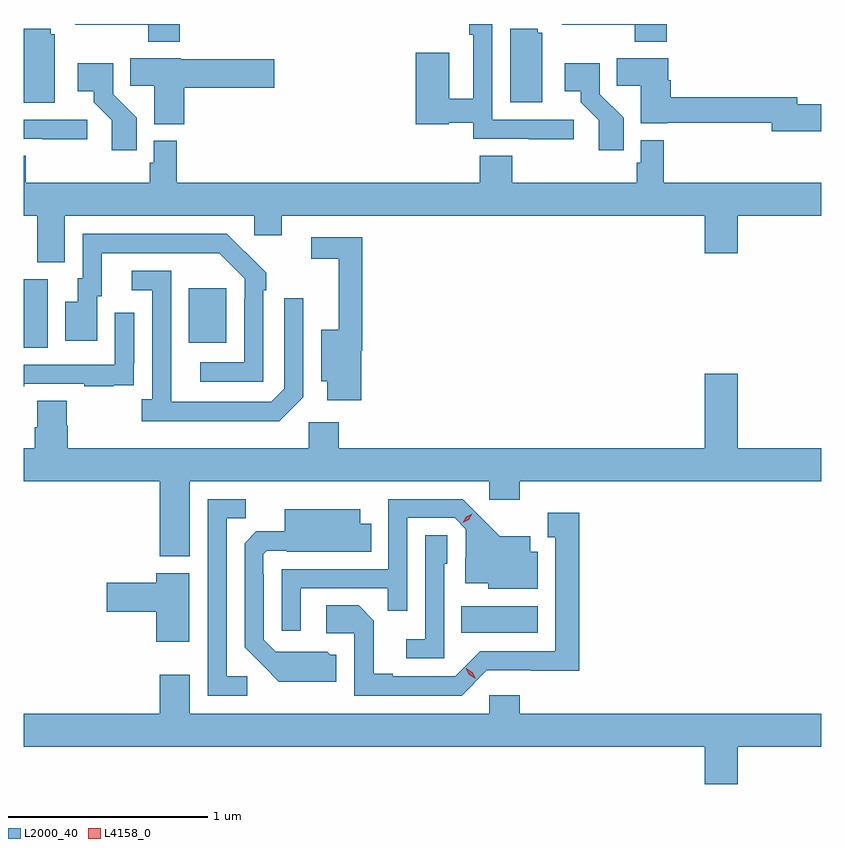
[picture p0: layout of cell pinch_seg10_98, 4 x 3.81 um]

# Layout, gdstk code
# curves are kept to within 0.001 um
import gdstk
lib = gdstk.Library(unit=1e-6, precision=1e-09)
def R(c, l, rs):  # rectangles x0, y0, x1, y1
    for r in rs: c.add(gdstk.rectangle(r[:2], r[2:], *l))
def P(c, l, *ps):  # polygons
    for p in ps: c.add(gdstk.Polygon(p, *l))
L2000_40 = (2000, 40)
L4158_0 = (4158, 0)

pinch_seg10_98 = lib.new_cell('pinch_seg10_98')
R(pinch_seg10_98, L2000_40, [(715.234,1291.562,715.618,1291.696), (713.039,1292.992,713.158,1293.336), (713.867,1293.017,714.055,1293.292)])
P(pinch_seg10_98, L2000_40, [(715.798,1294.137),(715.389,1294.137),(715.389,1294.617),(715.273,1294.617),(715.273,1294.562),(715.293,1294.562),(715.293,1294.243),(715.174,1294.243),(715.174,1294.474),(715.004,1294.474),(715.004,1294.114),(715.17,1294.114),(715.17,1294.122),(715.293,1294.122),(715.293,1294.041),(715.573,1294.041),(715.573,1294.039),(715.798,1294.039)],
  [(713.822,1294.617),(713.295,1294.617),(713.299,1294.613),(713.398,1294.613),(713.398,1294.614),(713.662,1294.614),(713.662,1294.529),(713.822,1294.529)],
  [(716.264,1294.617),(715.737,1294.617),(715.741,1294.613),(715.84,1294.613),(715.84,1294.614),(716.104,1294.614),(716.104,1294.529),(716.264,1294.529)],
  [(713.194,1294.566),(713.175,1294.566),(713.175,1294.593),(713.039,1294.593),(713.039,1294.222),(713.194,1294.222)],
  [(715.639,1294.572),(715.617,1294.572),(715.617,1294.593),(715.478,1294.593),(715.478,1294.224),(715.639,1294.224)],
  [(713.843,1294.297),(714.295,1294.297),(714.295,1294.439),(713.826,1294.439),(713.826,1294.444),(713.572,1294.444),(713.572,1294.306),(713.693,1294.306),(713.693,1294.115),(713.843,1294.115)],
  [(717.039,1294.214),(716.92,1294.214),(716.92,1294.25),(716.285,1294.25),(716.285,1294.334),(716.272,1294.334),(716.272,1294.444),(716.014,1294.444),(716.014,1294.306),(716.135,1294.306),(716.135,1294.118),(716.268,1294.118),(716.268,1294.122),(716.792,1294.122),(716.792,1294.079),(717.039,1294.079)],
  [(716.048,1294.146),(715.929,1294.265),(715.929,1294.42),(715.752,1294.42),(715.752,1294.28),(715.832,1294.28),(715.832,1294.225),(715.923,1294.135),(715.923,1293.984),(716.048,1293.984)],
  [(713.606,1294.146),(713.487,1294.265),(713.487,1294.42),(713.31,1294.42),(713.31,1294.28),(713.39,1294.28),(713.39,1294.225),(713.481,1294.135),(713.481,1293.984),(713.606,1293.984)],
  [(713.356,1294.137),(713.039,1294.137),(713.039,1294.041),(713.131,1294.041),(713.131,1294.039),(713.356,1294.039)],
  [(713.245,1293.656),(714.195,1293.656),(714.195,1293.558),(714.334,1293.558),(714.334,1293.656),(716.456,1293.656),(716.456,1293.468),(716.62,1293.468),(716.62,1293.656),(717.039,1293.656),(717.039,1293.82),(716.249,1293.82),(716.249,1294.033),(716.133,1294.033),(716.133,1293.921),(716.113,1293.921),(716.113,1293.82),(715.49,1293.82),(715.49,1293.956),(715.325,1293.956),(715.325,1293.82),(713.807,1293.82),(713.807,1294.03),(713.691,1294.03),(713.691,1293.921),(713.671,1293.921),(713.671,1293.82),(713.048,1293.82),(713.048,1293.956),(713.039,1293.956),(713.039,1293.656),(713.105,1293.656),(713.105,1293.421),(713.245,1293.421)],
  [(714.24,1293.281),(714.255,1293.281),(714.255,1293.369),(714.058,1293.564),(713.334,1293.564),(713.334,1293.342),(713.309,1293.342),(713.309,1293.223),(713.246,1293.223),(713.246,1293.027),(713.407,1293.027),(713.407,1293.252),(713.431,1293.252),(713.431,1293.468),(714.019,1293.468),(714.147,1293.339),(714.147,1293.239),(714.144,1293.239),(714.144,1292.919),(713.925,1292.919),(713.925,1292.823),(714.24,1292.823)],
  [(714.731,1292.978),(714.737,1292.978),(714.737,1293.546),(714.48,1293.546),(714.48,1293.438),(714.62,1293.438),(714.62,1293.082),(714.53,1293.082),(714.53,1292.825),(714.56,1292.825),(714.56,1292.73),(714.731,1292.73)],
  [(714.441,1292.745),(714.441,1293.241),(714.345,1293.241),(714.345,1292.787),(714.279,1292.721),(713.779,1292.721),(713.778,1293.378),(713.58,1293.378),(713.58,1293.282),(713.682,1293.282),(713.682,1292.734),(713.631,1292.734),(713.631,1292.624),(714.32,1292.624)],
  [(713.041,1292.811),(713.341,1292.811),(713.341,1292.799),(713.489,1292.799),(713.489,1292.805),(713.591,1292.805),(713.591,1292.914),(713.592,1292.914),(713.592,1293.169),(713.496,1293.169),(713.496,1292.907),(713.039,1292.907),(713.039,1292.799),(713.041,1292.799)],
  [(713.872,1292.324),(715.374,1292.324),(715.374,1292.229),(715.526,1292.229),(715.526,1292.324),(717.039,1292.324),(717.039,1292.488),(716.62,1292.488),(716.62,1292.863),(716.456,1292.863),(716.456,1292.488),(714.62,1292.488),(714.62,1292.62),(714.468,1292.62),(714.468,1292.488),(713.258,1292.488),(713.258,1292.601),(713.253,1292.601),(713.253,1292.726),(713.105,1292.726),(713.105,1292.594),(713.093,1292.594),(713.093,1292.488),(713.039,1292.488),(713.039,1292.324),(713.72,1292.324),(713.72,1291.946),(713.872,1291.946)],
  [(714.429,1291.785),(714.865,1291.785),(714.865,1291.672),(714.963,1291.672),(714.963,1292.139),(715.2,1292.139),(715.257,1292.082),(715.257,1291.94),(715.253,1291.94),(715.253,1291.811),(715.368,1291.811),(715.368,1291.784),(715.618,1291.784),(715.618,1291.969),(715.579,1291.969),(715.579,1292.047),(715.427,1292.047),(715.24,1292.232),(714.867,1292.232),(714.867,1291.881),(714.333,1291.881),(714.333,1291.572),(714.429,1291.572)],
  [(714.16,1291.344),(714.057,1291.344),(714.057,1292.137),(714.153,1292.137),(714.153,1292.232),(713.961,1292.232),(713.961,1291.248),(714.16,1291.248)],
  [(714.607,1291.452),(714.576,1291.452),(714.56,1291.468),(714.303,1291.467),(714.243,1291.527),(714.243,1291.856),(714.24,1291.856),(714.24,1291.956),(714.258,1291.974),(714.358,1291.974),(714.358,1291.97),(714.782,1291.97),(714.782,1292.11),(714.727,1292.11),(714.727,1292.182),(714.347,1292.182),(714.347,1292.071),(714.206,1292.071),(714.147,1292.012),(714.147,1291.49),(714.319,1291.316),(714.607,1291.316)],
  [(715.362,1291.374),(715.825,1291.373),(715.825,1292.164),(715.667,1292.164),(715.667,1292.043),(715.706,1292.043),(715.706,1291.47),(715.329,1291.47),(715.203,1291.344),(714.889,1291.344),(714.889,1291.357),(714.795,1291.357),(714.795,1291.624),(714.719,1291.7),(714.555,1291.7),(714.555,1291.56),(714.696,1291.56),(714.696,1291.248),(715.236,1291.248)],
  [(715.149,1291.908),(715.164,1291.908),(715.164,1292.051),(715.053,1292.051),(715.053,1291.531),(714.957,1291.531),(714.957,1291.434),(715.149,1291.434)],
  [(713.869,1291.861),(713.702,1291.861),(713.702,1291.814),(713.454,1291.814),(713.454,1291.667),(713.702,1291.667),(713.702,1291.518),(713.869,1291.518)],
  [(716.62,1290.992),(717.039,1290.992),(717.039,1291.156),(715.526,1291.156),(715.526,1291.249),(715.374,1291.249),(715.374,1291.156),(713.872,1291.156),(713.872,1291.351),(713.72,1291.351),(713.72,1291.156),(713.039,1291.156),(713.039,1290.992),(716.456,1290.992),(716.456,1290.804),(716.62,1290.804)])
P(pinch_seg10_98, L4158_0, [(715.305,1291.332),(715.274,1291.352),(715.257,1291.384),(715.257,1291.385),(715.258,1291.385),(715.289,1291.365),(715.306,1291.333),(715.306,1291.332)],
  [(715.241,1292.114),(715.241,1292.115),(715.258,1292.144),(715.289,1292.16),(715.289,1292.16),(715.289,1292.16),(715.272,1292.13),(715.241,1292.114)])

lib.write_gds('pinch_seg10_98.gds')
